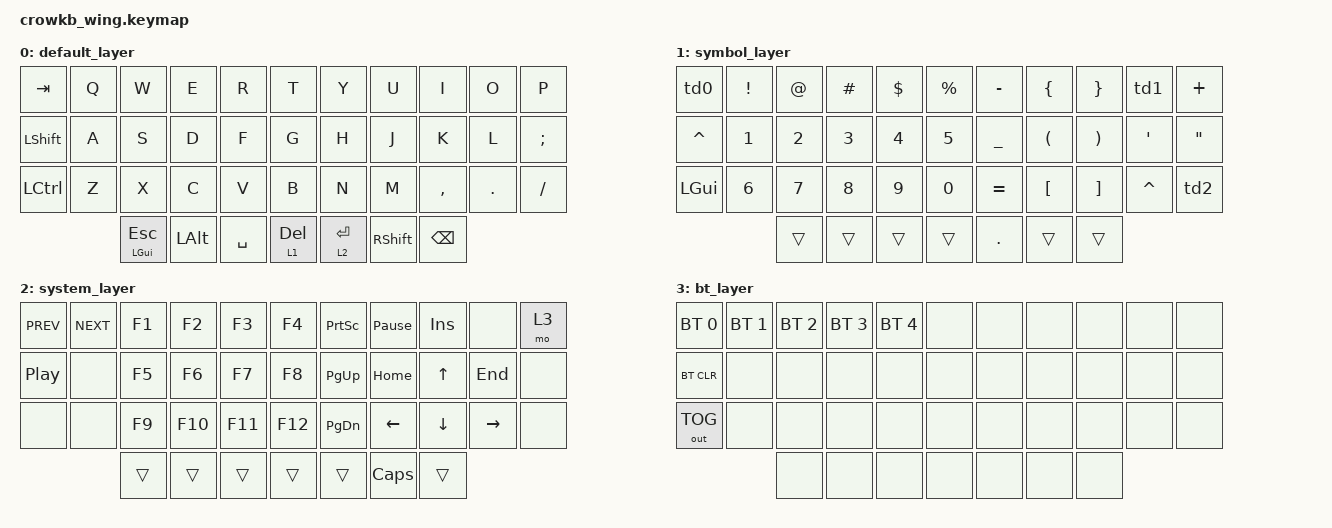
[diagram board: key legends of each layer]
#include <behaviors.dtsi>
#include <dt-bindings/zmk/bt.h>
#include <dt-bindings/zmk/keys.h>
#include <dt-bindings/zmk/outputs.h>

/ {
    behaviors {
        td0: tap_dance_0 {
            compatible = "zmk,behavior-tap-dance";
            #binding-cells = <0>;
            tapping-term-ms = <200>;
            bindings = <&kp GRAVE>, <&kp TILDE>;
        };

        td1: tap_dance_1 {
            compatible = "zmk,behavior-tap-dance";
            #binding-cells = <0>;
            tapping-term-ms = <200>;
            bindings = <&kp STAR>, <&kp AMPS>;
        };

        td2: tap_dance_2 {
            compatible = "zmk,behavior-tap-dance";
            #binding-cells = <0>;
            bindings = <&kp BACKSLASH>, <&kp PIPE>;
        };
    };

    keymap {
        compatible = "zmk,keymap";

        default_layer {
            bindings = <
&kp TAB    &kp Q  &kp W         &kp E     &kp R      &kp T        &kp Y      &kp U      &kp I      &kp O    &kp P
&kp LSHFT  &kp A  &kp S         &kp D     &kp F      &kp G        &kp H      &kp J      &kp K      &kp L    &kp SEMI
&kp LCTRL  &kp Z  &kp X         &kp C     &kp V      &kp B        &kp N      &kp M      &kp COMMA  &kp DOT  &kp FSLH
                  &mt LGUI ESC  &kp LALT  &kp SPACE  &lt 1 DEL    &lt 2 RET  &kp RSHFT  &kp BSPC
            >;
        };

        symbol_layer {
            bindings = <
&td0       &kp EXCL  &kp AT  &kp HASH  &kp DLLR  &kp PRCNT    &kp MINUS  &kp LBRC  &kp RBRC  &td1       &kp PLUS
&kp CARET  &kp N1    &kp N2  &kp N3    &kp N4    &kp N5       &kp UNDER  &kp LPAR  &kp RPAR  &kp SQT    &kp DQT
&kp LGUI   &kp N6    &kp N7  &kp N8    &kp N9    &kp N0       &kp EQUAL  &kp LBKT  &kp RBKT  &kp CARET  &td2
                     &trans  &trans    &trans    &trans       &kp DOT    &trans    &trans
            >;
        };

        system_layer {
            bindings = <
&kp C_PREV  &kp C_NEXT  &kp F1  &kp F2   &kp F3   &kp F4     &kp PSCRN  &kp PAUSE_BREAK  &kp INSERT  &none      &mo 3
&kp C_PP    &none       &kp F5  &kp F6   &kp F7   &kp F8     &kp PG_UP  &kp HOME         &kp UP      &kp END    &none
&none       &none       &kp F9  &kp F10  &kp F11  &kp F12    &kp PG_DN  &kp LEFT         &kp DOWN    &kp RIGHT  &none
                        &trans  &trans   &trans   &trans     &trans     &kp CAPSLOCK     &trans
            >;
        };

        bt_layer {
            bindings = <
&bt BT_SEL 0  &bt BT_SEL 1  &bt BT_SEL 2  &bt BT_SEL 3  &bt BT_SEL 4  &none    &none  &none  &none  &none  &none
&bt BT_CLR    &none         &none         &none         &none         &none    &none  &none  &none  &none  &none
&out OUT_TOG  &none         &none         &none         &none         &none    &none  &none  &none  &none  &none
                            &none         &none         &none         &none    &none  &none  &none
            >;
        };
    };
};
